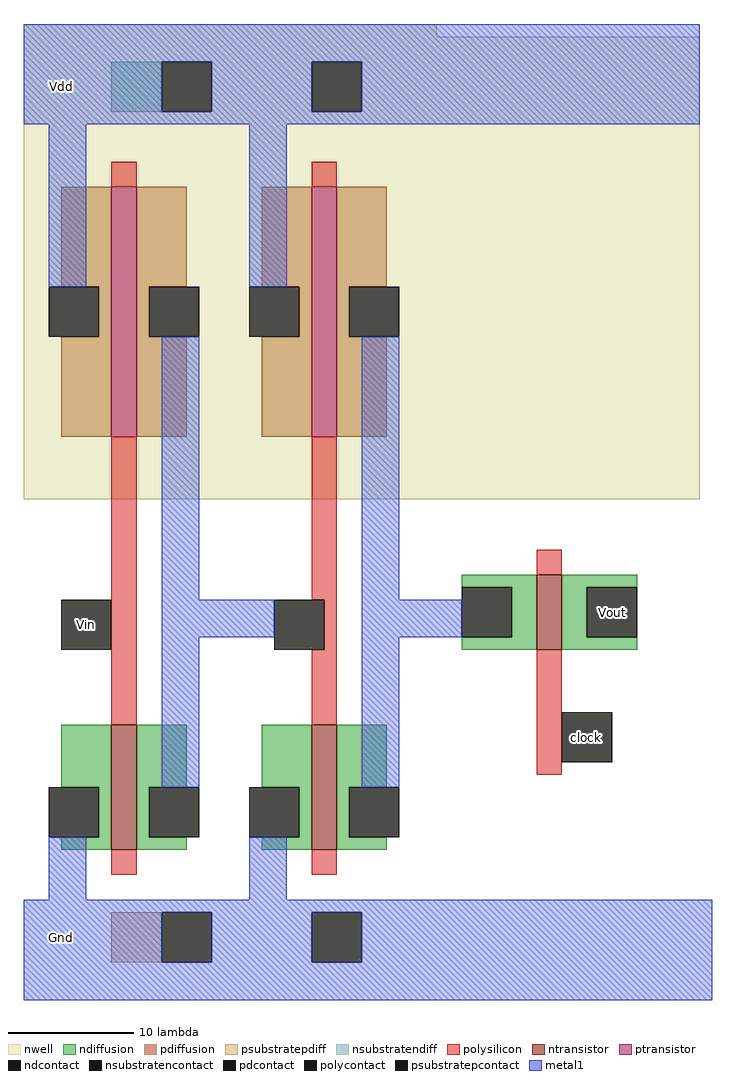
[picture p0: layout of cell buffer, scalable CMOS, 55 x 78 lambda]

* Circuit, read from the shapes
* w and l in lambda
.subckt buffer Gnd Vdd Vin Vout clock
M1 n1 Vin Gnd Gnd nfet w=10 l=2
M2 n2 n1 Gnd Gnd nfet w=10 l=2
M3 Vout clock n2 Gnd nfet w=6 l=2
M4 n1 Vin Vdd Vdd pfet w=20 l=2
M5 n2 n1 Vdd Vdd pfet w=20 l=2
.ends

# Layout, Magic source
magic
tech scmos
<< nwell >>
rect 8 70 41 71
rect 8 33 62 70
<< polysilicon >>
rect 15 58 17 60
rect 31 58 33 60
rect 15 15 17 38
rect 31 25 33 38
rect 49 27 51 29
rect 32 21 33 25
rect 31 15 33 21
rect 49 11 51 21
rect 15 3 17 5
rect 31 3 33 5
<< ndiffusion >>
rect 43 26 49 27
rect 47 22 49 26
rect 43 21 49 22
rect 51 26 57 27
rect 51 22 53 26
rect 51 21 57 22
rect 11 10 15 15
rect 14 6 15 10
rect 11 5 15 6
rect 17 10 21 15
rect 27 10 31 15
rect 17 6 18 10
rect 30 6 31 10
rect 17 5 21 6
rect 27 5 31 6
rect 33 10 37 15
rect 33 6 34 10
rect 33 5 37 6
<< pdiffusion >>
rect 11 50 15 58
rect 14 46 15 50
rect 11 38 15 46
rect 17 50 21 58
rect 27 50 31 58
rect 17 46 18 50
rect 30 46 31 50
rect 17 38 21 46
rect 27 38 31 46
rect 33 50 37 58
rect 33 46 34 50
rect 33 38 37 46
<< metal1 >>
rect 8 68 62 71
rect 8 64 19 68
rect 23 64 31 68
rect 35 64 62 68
rect 8 63 62 64
rect 10 50 13 63
rect 26 50 29 63
rect 19 25 22 46
rect 35 25 38 46
rect 19 22 28 25
rect 19 10 22 22
rect 35 22 43 25
rect 35 10 38 22
rect 10 1 13 6
rect 26 1 29 6
rect 8 0 63 1
rect 8 -4 19 0
rect 23 -4 31 0
rect 35 -4 63 0
rect 8 -7 63 -4
<< ntransistor >>
rect 49 21 51 27
rect 15 5 17 15
rect 31 5 33 15
<< ptransistor >>
rect 15 38 17 58
rect 31 38 33 58
<< polycontact >>
rect 11 21 15 25
rect 28 21 32 25
rect 51 12 55 16
<< ndcontact >>
rect 43 22 47 26
rect 53 22 57 26
rect 10 6 14 10
rect 18 6 22 10
rect 26 6 30 10
rect 34 6 38 10
<< pdcontact >>
rect 10 46 14 50
rect 18 46 22 50
rect 26 46 30 50
rect 34 46 38 50
<< psubstratepcontact >>
rect 19 -4 23 0
rect 31 -4 35 0
<< nsubstratencontact >>
rect 19 64 23 68
rect 31 64 35 68
<< psubstratepdiff >>
rect 15 -4 19 0
<< nsubstratendiff >>
rect 15 64 19 68
<< labels >>
rlabel polycontact 13 23 13 23 1 Vin
rlabel metal1 11 -2 11 -2 1 Gnd
rlabel metal1 11 66 11 66 5 Vdd
rlabel ndcontact 55 24 55 24 7 Vout
rlabel polycontact 53 14 53 14 7 clock
<< end >>
